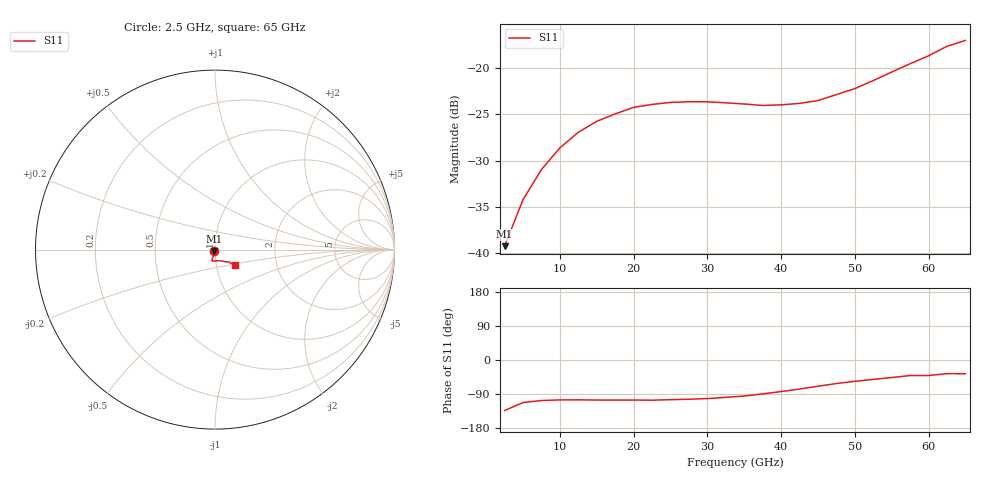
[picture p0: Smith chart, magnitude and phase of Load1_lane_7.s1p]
! File created by SignalIntegrity v1.5.1: Signal and Power Integrity Tools
! https://github.com/Nubis-Communications/SignalIntegrity
# MHz S MA R 50.0
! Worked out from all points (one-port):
!   26 points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, 2.5 GHz to 65 GHz, reference 50 ohm
!   lowest |S11| = -39.2 dB at 2.5 GHz (marker M1), VSWR 1.02, Z = 49.2 - j0.786 ohm
!   |S11| at or under -10 dB: start of sweep to end of sweep
2500  0.01095 -133.2
5000  0.01949 -112.3
7500  0.02833 -107.0
10000  0.03704 -105.3
12500  0.04493 -105.1
15000  0.05147 -105.7
17500  0.05644 -105.7
20000  0.06118 -105.6
22500  0.06346 -106.1
25000  0.06507 -104.6
27500  0.06563 -103.5
30000  0.06557 -101.8
32500  0.06473 -98.6
35000  0.0638 -95.2
37500  0.06264 -89.5
40000  0.06313 -83.3
42500  0.06428 -76.7
45000  0.06657 -69.3
47500  0.07166 -62.1
50000  0.07719 -56.3
52500  0.08526 -51.2
55000  0.09482 -46.3
57500  0.1051 -41.0
60000  0.1159 -41.0
62500  0.1305 -36.0
65000  0.1402 -36.3
